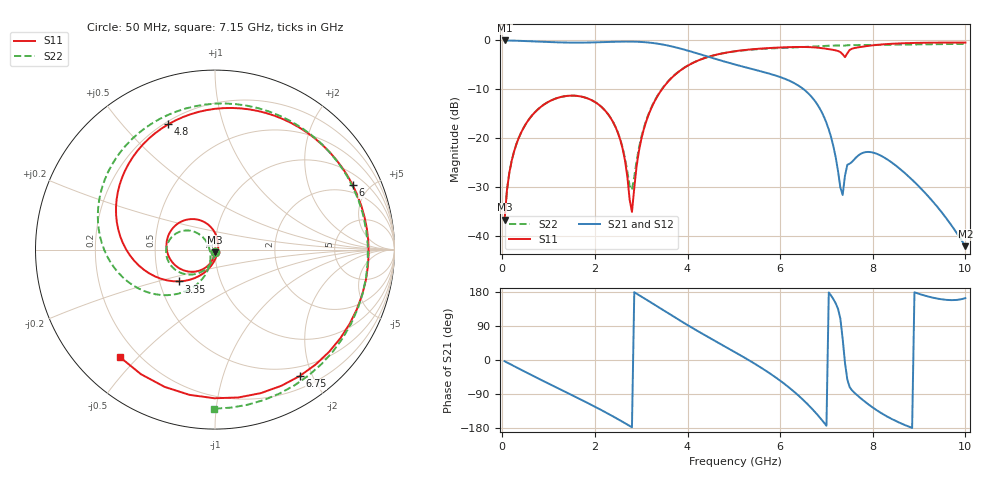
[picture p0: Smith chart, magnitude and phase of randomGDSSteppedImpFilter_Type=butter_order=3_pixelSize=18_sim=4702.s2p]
! freq	dB(S11)	phase(S11)	dB(S12)	phase(S12)
!  dB(S21)	phase(S21)	dB(S22)	phase(S22)
!S-par simulation data
#  GHz  S  DB  R 50
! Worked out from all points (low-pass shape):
!   200 points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, 50 MHz to 10 GHz, reference 50 ohm
!   highest |S21| = -0.01 dB at 50 MHz (marker M1); lowest = -42.0 dB at 10 GHz (marker M2)
!   |S21| within 3 dB of the highest: start of sweep to 4.334 GHz
!   lowest |S11| = -36.6 dB at 50 MHz (marker M3), VSWR 1.03, Z = 49.9 - j1.47 ohm
!   |S11| at or under -10 dB: start of sweep to 3.447 GHz
!   |S22| runs from -36.6 to -0.7 dB; largest |S21 - S12| = 0
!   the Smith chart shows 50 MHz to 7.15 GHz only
!   S11 on the Smith chart (normalised r, x): 50 MHz: 1.00, -0.03; 3.35 GHz: 0.63, -0.24; 4.8 GHz: 0.21, +0.67; 6 GHz: 1.54, +3.92; 6.75 GHz: 0.36, -1.82; 7.15 GHz: 0.13, -0.44
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0.05  -36.64 -92.9  -0.01 -3.2  -0.01 -3.2  -36.63 -92.5
0.2  -24.71 -103.7  -0.04 -12.8  -0.04 -12.8  -24.71 -101.9
0.5  -17.20 -124.3  -0.13 -31.6  -0.13 -31.6  -17.19 -119.7
1.75  -11.58 153.0  -0.45 -107.7  -0.45 -107.7  -11.57 171.0
2.45  -17.81 100.8  -0.27 -152.8  -0.27 -152.8  -17.76 136.4
2.8  -35.05 -22.4  -0.24 -177.5  -0.24 -177.5  -30.51 -157.2
3  -20.25 -104.5  -0.31 167.7  -0.31 167.7  -19.84 -109.3
3.35  -11.41 -138.8  -0.66 141.0  -0.66 141.0  -11.31 -123.7
3.4  -10.65 -143.1  -0.73 137.2  -0.73 137.2  -10.56 -126.8
4.1  -4.67 160.6  -2.34 84.9  -2.34 84.9  -4.64 -173.1
4.8  -2.56 110.5  -4.32 36.2  -4.32 36.2  -2.57 140.6
5.05  -2.17 93.4  -4.99 18.9  -4.99 18.9  -2.21 123.4
6  -1.44 25.1  -7.48 -54.5  -7.48 -54.5  -1.55 45.1
6.7  -1.40 -48.8  -11.77 -130.3  -11.77 -130.3  -1.25 -34.7
6.75  -1.43 -56.2  -12.37 -136.9  -12.37 -136.9  -1.22 -40.9
7.15  -1.94 -131.7  -21.65 160.4  -21.65 160.4  -1.05 -90.2
7.35  -2.83 -177.2  -31.58 55.6  -31.58 55.6  -1.06 -112.9
7.45  -2.63 172.3  -25.42 -51.5  -25.42 -51.5  -0.99 -123.1
7.75  -1.32 113.5  -23.12 -101.9  -23.12 -101.9  -0.96 -152.5
8.35  -0.72 47.3  -24.55 -151.8  -24.55 -151.8  -0.90 160.4
9.15  -0.47 -0.5  -31.36 169.0  -31.36 169.0  -0.79 111.1
10  -0.45 -33.8  -42.04 163.3  -42.04 163.3  -0.71 67.5
